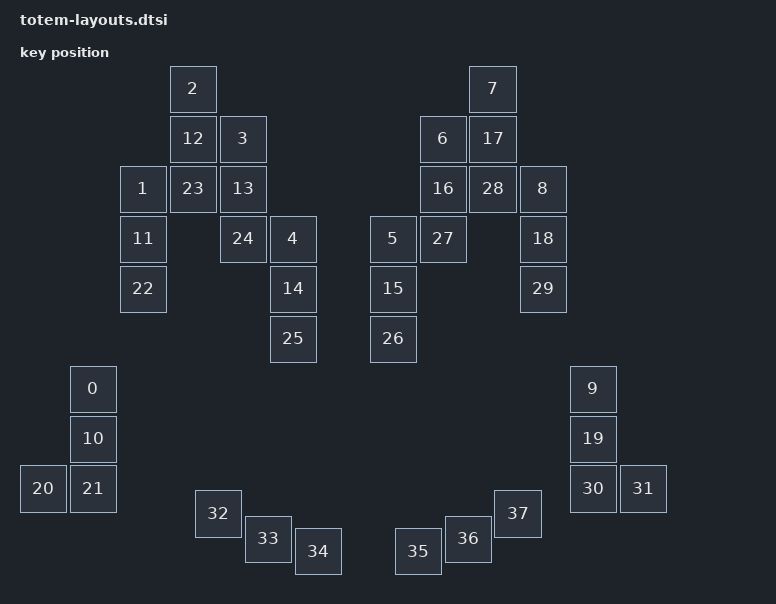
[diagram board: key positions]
/*
 * TOTEM physical layout for ZMK Studio
 * 38 keys: 5+5 cols × 3 rows, 2 outer pinky keys, 6 thumbs
 *
 * Coordinates are in centi-keyunits (100 = 1u).
 * Key order matches the matrix transform binding order:
 *   0- 9  row 0 (L then R)
 *  10-19  row 1 (L then R)
 *  20     outer-L pinky
 *  21-25  row 2 L
 *  26-30  row 2 R
 *  31     outer-R pinky
 *  32-34  thumb L
 *  35-37  thumb R
 */

#include <physical_layouts.dtsi>

/ {
    totem_physical_layout: totem_physical_layout {
        compatible = "zmk,physical-layout";
        display-name = "TOTEM";
        transform = <&default_transform>;
        kscan = <&kscan0>;

        keys //                    w    h     x     y   rot   rx   ry
            /* row 0 — left */
            = <&key_physical_attrs 100 100     0   600     0    0    0>  /*  0 pinky */
            , <&key_physical_attrs 100 100   100   200     0    0    0>  /*  1 ring */
            , <&key_physical_attrs 100 100   200     0     0    0    0>  /*  2 middle */
            , <&key_physical_attrs 100 100   300   100     0    0    0>  /*  3 index */
            , <&key_physical_attrs 100 100   400   300     0    0    0>  /*  4 inner */
            /* row 0 — right */
            , <&key_physical_attrs 100 100   600   300     0    0    0>  /*  5 inner */
            , <&key_physical_attrs 100 100   700   100     0    0    0>  /*  6 index */
            , <&key_physical_attrs 100 100   800     0     0    0    0>  /*  7 middle */
            , <&key_physical_attrs 100 100   900   200     0    0    0>  /*  8 ring */
            , <&key_physical_attrs 100 100  1000   600     0    0    0>  /*  9 pinky */
            /* row 1 — left */
            , <&key_physical_attrs 100 100     0   700     0    0    0>  /* 10 pinky */
            , <&key_physical_attrs 100 100   100   300     0    0    0>  /* 11 ring */
            , <&key_physical_attrs 100 100   200   100     0    0    0>  /* 12 middle */
            , <&key_physical_attrs 100 100   300   200     0    0    0>  /* 13 index */
            , <&key_physical_attrs 100 100   400   400     0    0    0>  /* 14 inner */
            /* row 1 — right */
            , <&key_physical_attrs 100 100   600   400     0    0    0>  /* 15 inner */
            , <&key_physical_attrs 100 100   700   200     0    0    0>  /* 16 index */
            , <&key_physical_attrs 100 100   800   100     0    0    0>  /* 17 middle */
            , <&key_physical_attrs 100 100   900   300     0    0    0>  /* 18 ring */
            , <&key_physical_attrs 100 100  1000   700     0    0    0>  /* 19 pinky */
            /* row 2 — outer-L, left, right, outer-R */
            , <&key_physical_attrs 100 100  (-100)  800     0    0    0>  /* 20 outer-L */
            , <&key_physical_attrs 100 100     0   800     0    0    0>  /* 21 pinky */
            , <&key_physical_attrs 100 100   100   400     0    0    0>  /* 22 ring */
            , <&key_physical_attrs 100 100   200   200     0    0    0>  /* 23 middle */
            , <&key_physical_attrs 100 100   300   300     0    0    0>  /* 24 index */
            , <&key_physical_attrs 100 100   400   500     0    0    0>  /* 25 inner */
            , <&key_physical_attrs 100 100   600   500     0    0    0>  /* 26 inner */
            , <&key_physical_attrs 100 100   700   300     0    0    0>  /* 27 index */
            , <&key_physical_attrs 100 100   800   200     0    0    0>  /* 28 middle */
            , <&key_physical_attrs 100 100   900   400     0    0    0>  /* 29 ring */
            , <&key_physical_attrs 100 100  1000   800     0    0    0>  /* 30 pinky */
            , <&key_physical_attrs 100 100  1100   800     0    0    0>  /* 31 outer-R */
            /* thumbs — left */
            , <&key_physical_attrs 100 100   250   850     0    0    0>  /* 32 */
            , <&key_physical_attrs 100 100   350   900     0    0    0>  /* 33 */
            , <&key_physical_attrs 100 100   450   925     0    0    0>  /* 34 */
            /* thumbs — right */
            , <&key_physical_attrs 100 100   650   925     0    0    0>  /* 35 */
            , <&key_physical_attrs 100 100   750   900     0    0    0>  /* 36 */
            , <&key_physical_attrs 100 100   850   850     0    0    0>  /* 37 */
            ;
    };
};
